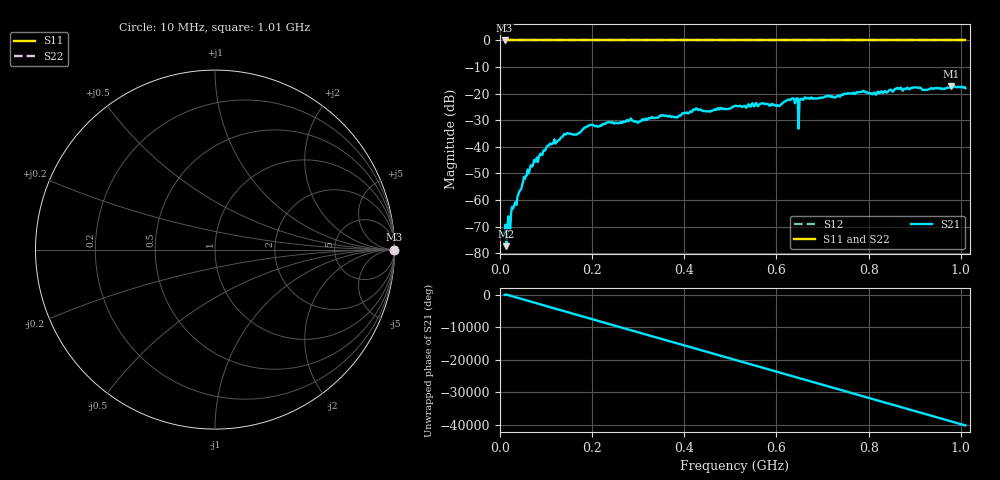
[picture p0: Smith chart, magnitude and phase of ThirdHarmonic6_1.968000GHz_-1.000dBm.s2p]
! 8/16/2025 11:40:52 PM
! C:\ANRITSUVNA\TEMP\TEMP.S2P
! CHANNEL.1
! TR.MEASUREMENT
! RAW.DATA
! RF.CORRECTION.OFF
! AVERAGING.OFF
! IF.BANDWIDTH: 5KHZ
! SWEEPTYPE:  FREQ.SWEEP(Linear)
! Reference Plane Port Info
! PORT:  PORT1  PORT2
! DISTANCE:  0  m  0  m
! TIME:  0  s  0  s
! PHASE.OFFSET:  0  deg.  0  deg.
! LOSS:  0  dB  0  dB
! REF.LOSS:  0  dB  0  dB
! REF.FREQ:  0  Hz  0  Hz
! Power Info
! POWER:  -20  dBm  -20  dBm
! EFF.POWER:  -20  dBm  -20  dBm
! SOURCE.ATTEN:  0  dB  0  dB
! TEST.ATTEN:  0  dB  0  dB
# GHZ S RI R 50.0
! FREQ.GHZ  S11RE  S11IM  S21RE  S21IM  S12RE  S12IM  S22RE  S22IM
!; PortSelection: Port_12
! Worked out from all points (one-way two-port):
!   501 points, 10 MHz to 1.01 GHz, reference 50 ohm
!   highest |S21| = -17.21 dB at 978 MHz (marker M1); lowest = -77.3 dB at 14 MHz (marker M2)
!   lowest |S11| = 0.0 dB at 10 MHz (marker M3)
!   |S11| at or under -10 dB: nowhere
!   |S22| runs from 0.0 to 0.0 dB; largest |S21 - S12| = 1.1
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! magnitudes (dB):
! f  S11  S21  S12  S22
! 10 MHz  0.0  -72.3  0.0  0.0
! 14 MHz  0.0  -77.3  0.0  0.0
! 18 MHz  0.0  -66.1  0.0  0.0
! 28 MHz  0.0  -63.3  0.0  0.0
! 52 MHz  0.0  -51.3  0.0  0.0
! 76 MHz  0.0  -45.6  0.0  0.0
! 106 MHz  0.0  -39.5  0.0  0.0
! 142 MHz  0.0  -35.4  0.0  0.0
! 178 MHz  0.0  -33.7  0.0  0.0
! 196 MHz  0.0  -31.8  0.0  0.0
! 344 MHz  0.0  -29.0  0.0  0.0
! 510 MHz  0.0  -24.6  0.0  0.0
! 604 MHz  0.0  -24.5  0.0  0.0
! 634 MHz  0.0  -21.7  0.0  0.0
! 642 MHz  0.0  -22.0  0.0  0.0
! 644 MHz  0.0  -21.8  0.0  0.0
! 652 MHz  0.0  -22.2  0.0  0.0
! 654 MHz  0.0  -21.9  0.0  0.0
! 678 MHz  0.0  -21.7  0.0  0.0
! 844 MHz  0.0  -18.8  0.0  0.0
! 978 MHz  0.0  -17.2  0.0  0.0
! 1.01 GHz  0.0  -17.9  0.0  0.0
